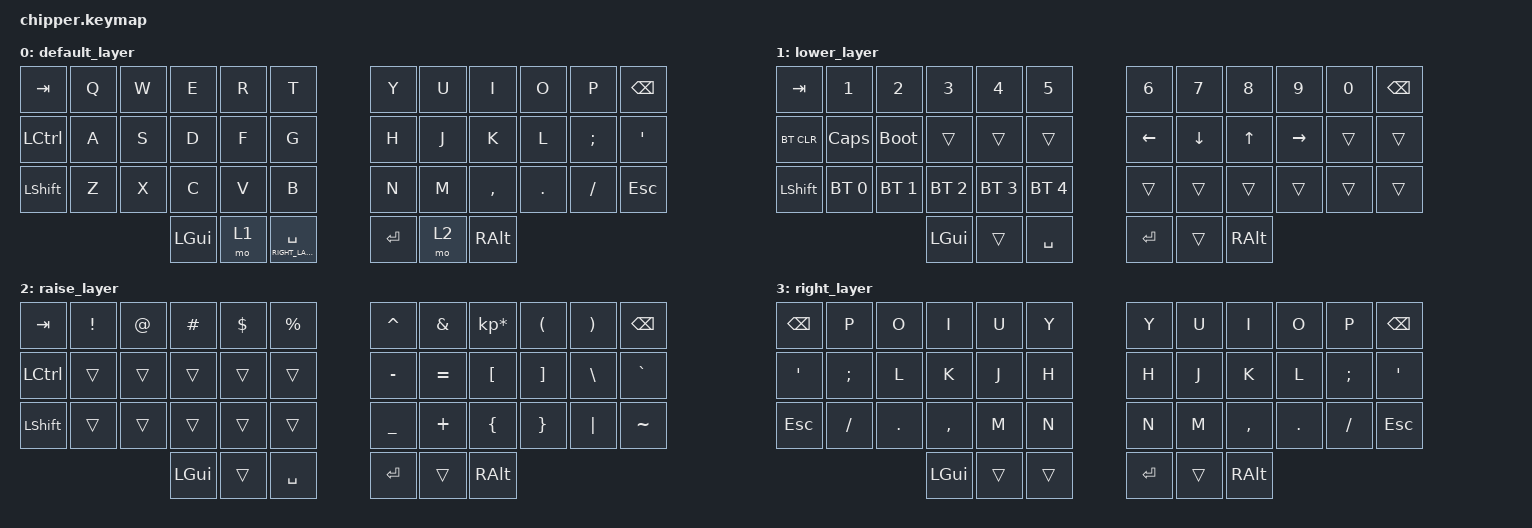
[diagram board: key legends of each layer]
/*
 * Copyright (c) 2020 The ZMK Contributors
 *
 * SPDX-License-Identifier: MIT
 */

#include <behaviors.dtsi>
#include <dt-bindings/zmk/keys.h>
#include <dt-bindings/zmk/bt.h>
#include <dt-bindings/zmk/outputs.h>

#define COMBO_TIMEOUT 60

#define DEFAULT 0
#define LOWER   1
#define RAISE   2
#define RIGHT_LAYER   3

/ {
    combos {
        compatible = "zmk,combos";
 	 combo_bootloader_left {
                timeout-ms = <COMBO_TIMEOUT>;
                key-positions = <0 12 24>;  /* whole most left column in same time */
                bindings = <&bootloader>;
        };
         combo_bootloader_right {
                timeout-ms = <COMBO_TIMEOUT>;
                key-positions = <11 39>;
                bindings = <&bootloader>;
        };
         combo_backspace_left {
                timeout-ms = <COMBO_TIMEOUT>;
                key-positions = <3 4 5>;
                bindings = <&kp BSPC>;
        };
    };
};
/ {
        keymap {
                compatible = "zmk,keymap";

                default_layer {
// -----------------------------------------------------------------------------------------
// |  TAB |  Q  |  W  |  E  |  R  |  T  |   |  Y  |  U   |  I  |  O  |  P  | BKSP |
// | CTRL |  A  |  S  |  D  |  F  |  G  |   |  H  |  J   |  K  |  L  |  ;  |  '   |
// | SHFT |  Z  |  X  |  C  |  V  |  B  |   |  N  |  M   |  ,  |  .  |  /  | ESC  |
//                    | GUI | LWR | SPC |   | ENT | RSE  | ALT |
                        bindings = <
   &kp TAB   &kp Q &kp W &kp E &kp R &kp T   &kp Y &kp U  &kp I     &kp O   &kp P    &kp BSPC
   &kp LCTRL &kp A &kp S &kp D &kp F &kp G   &kp H &kp J  &kp K     &kp L   &kp SEMI &kp SQT
   &kp LSHFT &kp Z &kp X &kp C &kp V &kp B   &kp N &kp M  &kp COMMA &kp DOT &kp FSLH &kp ESC
      &kp LGUI &mo 1 &lt RIGHT_LAYER SPACE   &kp RET &mo 2 &kp RALT
                        >;
                };
                lower_layer {
// -----------------------------------------------------------------------------------------
// |  TAB |  1  |  2  |  3  |  4  |  5  |   |  6  |  7  |  8  |  9  |  0  | BKSP |
// | BTCLR| CAPS| BOOT|     |     |     |   | LFT | DWN |  UP | RGT |     |      |
// | SHFT | BT1 | BT2 | BT3 | BT4 | BT5 |   |     |     |     |     |     |      |
//                    | GUI |     | SPC |   | ENT |     | ALT |
                        bindings = <
   &kp TAB    &kp N1       &kp N2       &kp N3       &kp N4       &kp N5         &kp N6   &kp N7   &kp N8 &kp N9    &kp N0 &kp BSPC
   &bt BT_CLR &kp CAPS &bootloader &trans &trans &trans  &kp LEFT &kp DOWN &kp UP &kp RIGHT &trans &trans
   &kp LSHFT  &bt BT_SEL 0 &bt BT_SEL 1       &bt BT_SEL 2       &bt BT_SEL 3       &bt BT_SEL 4         &trans   &trans   &trans &trans    &trans &trans
                                    &kp LGUI     &trans       &kp SPACE      &kp RET  &trans   &kp RALT
                        >;
                };

                raise_layer {
// -----------------------------------------------------------------------------------------
// |  TAB |  !  |  @  |  #  |  $  |  %  |   |  ^  |  &  |  *  |  (  |  )  | BKSP |
// | CTRL |     |     |     |     |     |   |  -  |  =  |  [  |  ]  |  \  |  `   |
// | SHFT |     |     |     |     |     |   |  _  |  +  |  {  |  }  | "|" |  ~   |
//                    | GUI |     | SPC |   | ENT |     | ALT |
                        bindings = <
   &kp  TAB  &kp EXCL &kp AT &kp HASH &kp DLLR &kp PRCNT   &kp CARET &kp AMPS  &kp KP_MULTIPLY &kp LPAR &kp RPAR &kp BSPC
   &kp LCTRL &trans   &trans &trans   &trans   &trans      &kp MINUS &kp EQUAL &kp LBKT        &kp RBKT &kp BSLH &kp GRAVE
   &kp LSHFT &trans   &trans &trans   &trans   &trans      &kp UNDER &kp PLUS  &kp LBRC        &kp RBRC &kp PIPE &kp TILDE
                             &kp LGUI &trans   &kp SPACE   &kp RET   &trans    &kp RALT
                        >;
                };
                right_layer {
// -----------------------------------------------------------------------------------------
// | BKSP |  P  |  O  |  I  |  U  |  Y  |   |  Y  |  U   |  I  |  O  |  P  | BKSP |
// | CTRL |  A  |  S  |  D  |  F  |  G  |   |  H  |  J   |  K  |  L  |  ;  |  '   |
// | SHFT |  Z  |  X  |  C  |  V  |  B  |   |  N  |  M   |  ,  |  .  |  /  | ESC  |
//                    | GUI | LWR | SPC |   | ENT | RSE  | ALT |
                        bindings = <
&kp BSPC &kp P    &kp O   &kp I     &kp U &kp Y    &kp Y &kp U  &kp I     &kp O   &kp P    &kp BSPC
&kp SQT  &kp SEMI &kp L   &kp K     &kp J &kp H    &kp H &kp J  &kp K     &kp L   &kp SEMI &kp SQT
&kp ESC  &kp FSLH &kp DOT &kp COMMA &kp M &kp N    &kp N &kp M  &kp COMMA &kp DOT &kp FSLH &kp ESC
                       &kp LGUI &trans   &trans    &kp RET   &trans    &kp RALT
                >;
                };
        };
};
